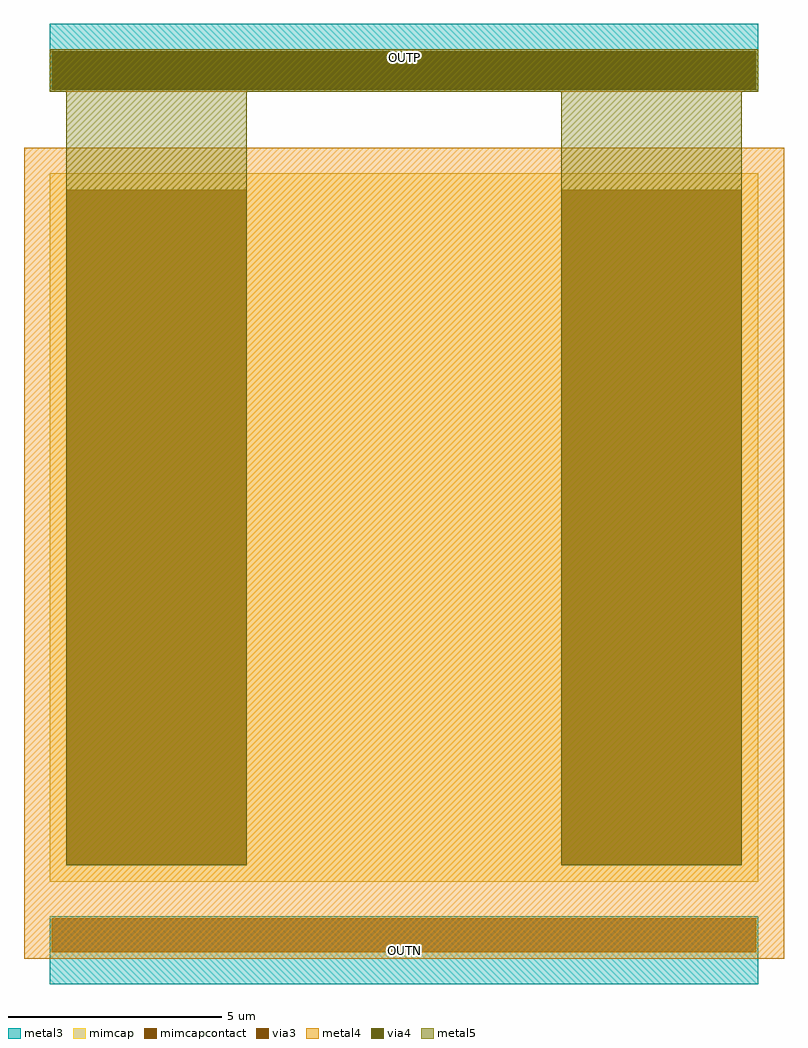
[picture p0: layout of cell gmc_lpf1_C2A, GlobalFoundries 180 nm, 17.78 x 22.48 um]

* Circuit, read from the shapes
.subckt gmc_lpf1_C2A OUTP OUTN
XC1 OUTP OUTN cap_mim_2f0fF c_width=16.58u c_length=16.58u
.ends

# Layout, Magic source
magic
tech gf180mcuD
magscale 1 10
<< metal3 >>
rect 0 -340 3316 -160
rect 0 3696 3316 3896
rect 0 3696 3316 4016
rect 0 3696 3316 4016
rect 0 -480 3316 -160
rect 0 -480 3316 -160
<< metal4 >>
rect -120 -360 3436 3436
rect 0 -340 3316 -160
rect 0 3696 3316 3896
rect 0 3696 3316 3896
<< mimcap >>
rect 0 0 3316 3316
<< metal5 >>
rect 78 78 922 3796
rect 2394 78 3238 3796
rect 0 3696 3316 3896
rect 0 3696 3316 3896
<< via3 >>
rect 10 -330 3306 -170
rect 10 3706 3306 3886
<< via4 >>
rect 10 3706 3306 3886
<< mimcapcontact >>
rect 78 78 922 3238
rect 2394 78 3238 3238
<< labels >>
flabel metal3 s 0 3696 3316 4016 0 FreeSans 80 0 0 0 OUTP
port 1 nsew signal bidirectional
flabel metal3 s 0 -480 3316 -160 0 FreeSans 80 0 0 0 OUTN
port 2 nsew signal bidirectional
<< end >>
